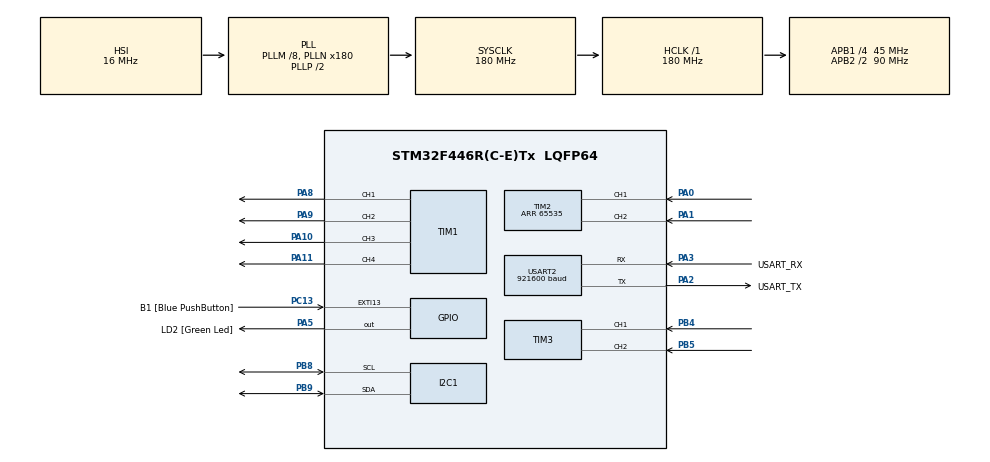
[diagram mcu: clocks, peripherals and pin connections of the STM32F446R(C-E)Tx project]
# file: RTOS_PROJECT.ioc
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Dma.Request0=USART2_RX
Dma.Request1=USART2_TX
Dma.USART2_RX.0.Direction=DMA_PERIPH_TO_MEMORY
Dma.USART2_RX.0.FIFOMode=DMA_FIFOMODE_DISABLE
Dma.USART2_RX.0.Instance=DMA1_Stream5
Dma.USART2_RX.0.MemDataAlignment=DMA_MDATAALIGN_BYTE
Dma.USART2_RX.0.MemInc=DMA_MINC_ENABLE
Dma.USART2_RX.0.Mode=DMA_CIRCULAR
Dma.USART2_RX.0.PeriphDataAlignment=DMA_PDATAALIGN_BYTE
Dma.USART2_RX.0.PeriphInc=DMA_PINC_DISABLE
Dma.USART2_RX.0.Priority=DMA_PRIORITY_VERY_HIGH
Dma.USART2_TX.1.Direction=DMA_MEMORY_TO_PERIPH
Dma.USART2_TX.1.FIFOMode=DMA_FIFOMODE_DISABLE
Dma.USART2_TX.1.Instance=DMA1_Stream6
Dma.USART2_TX.1.MemDataAlignment=DMA_MDATAALIGN_BYTE
Dma.USART2_TX.1.MemInc=DMA_MINC_ENABLE
Dma.USART2_TX.1.Mode=DMA_NORMAL
Dma.USART2_TX.1.PeriphDataAlignment=DMA_PDATAALIGN_BYTE
Dma.USART2_TX.1.PeriphInc=DMA_PINC_DISABLE
Dma.USART2_TX.1.Priority=DMA_PRIORITY_VERY_HIGH
FREERTOS.Tasks01=defaultTask,24,3000,StartDefaultTask,Default,NULL,Dynamic,NULL,NULL
FREERTOS.configTOTAL_HEAP_SIZE=30000
FREERTOS.configUSE_NEWLIB_REENTRANT=1
Mcu.Family=STM32F4
Mcu.Name=STM32F446R(C-E)Tx
Mcu.Package=LQFP64
NVIC.DMA1_Stream5_IRQn=true\:5\:0\:false\:false\:true\:true\:false\:true\:true
NVIC.DMA1_Stream6_IRQn=true\:5\:0\:false\:false\:true\:true\:false\:true\:true
NVIC.PriorityGroup=NVIC_PRIORITYGROUP_4
NVIC.TIM3_IRQn=true\:5\:0\:false\:false\:true\:true\:true\:true\:true
NVIC.TIM4_IRQn=true\:5\:0\:false\:false\:true\:true\:true\:true\:true
NVIC.TIM7_IRQn=true\:15\:0\:false\:false\:true\:false\:false\:true\:true
NVIC.TimeBase=TIM7_IRQn
NVIC.TimeBaseIP=TIM7
NVIC.USART2_IRQn=true\:5\:0\:false\:false\:true\:true\:true\:true\:true
PA0-WKUP.Signal=S_TIM2_CH1_ETR
PA1.Signal=S_TIM2_CH2
PA10.Signal=S_TIM1_CH3
PA11.Signal=S_TIM1_CH4
PA13.GPIO_Label=TMS
PA13.Mode=Serial_Wire
PA13.Signal=SYS_JTMS-SWDIO
PA14.GPIO_Label=TCK
PA14.Mode=Serial_Wire
PA14.Signal=SYS_JTCK-SWCLK
PA2.GPIO_Label=USART_TX
PA2.Mode=Asynchronous
PA2.Signal=USART2_TX
PA3.GPIO_Label=USART_RX
PA3.Mode=Asynchronous
PA3.Signal=USART2_RX
PA5.GPIO_Label=LD2 [Green Led]
PA5.Signal=GPIO_Output
PA8.Signal=S_TIM1_CH1
PA9.Signal=S_TIM1_CH2
PB3.GPIO_Label=SWO
PB3.Signal=SYS_JTDO-SWO
PB4.Signal=S_TIM3_CH1
PB5.Signal=S_TIM3_CH2
PB8.Mode=I2C
PB8.Signal=I2C1_SCL
PB9.Mode=I2C
PB9.Signal=I2C1_SDA
PC13.GPIO_Label=B1 [Blue PushButton]
PC13.GPIO_ModeDefaultEXTI=GPIO_MODE_IT_FALLING
PC13.Signal=GPXTI13
PC14-OSC32_IN.Mode=LSE-External-Oscillator
PC14-OSC32_IN.Signal=RCC_OSC32_IN
PC15-OSC32_OUT.Mode=LSE-External-Oscillator
PC15-OSC32_OUT.Signal=RCC_OSC32_OUT
PH0-OSC_IN.Mode=HSE-External-Oscillator
PH0-OSC_IN.Signal=RCC_OSC_IN
PH1-OSC_OUT.Mode=HSE-External-Oscillator
PH1-OSC_OUT.Signal=RCC_OSC_OUT
ProjectManager.HeapSize=0x200
ProjectManager.StackSize=0x400
ProjectManager.TargetToolchain=Makefile
RCC.48MHZClocksFreq_Value=84000000
RCC.AHBFreq_Value=180000000
RCC.APB1CLKDivider=RCC_HCLK_DIV4
RCC.APB1Freq_Value=45000000
RCC.APB1TimFreq_Value=90000000
RCC.APB2CLKDivider=RCC_HCLK_DIV2
RCC.APB2Freq_Value=90000000
RCC.APB2TimFreq_Value=180000000
RCC.CortexFreq_Value=180000000
RCC.FLatency-AdvancedSettings=FLASH_LATENCY_5
RCC.HCLKFreq_Value=180000000
RCC.HSE_VALUE=8000000
RCC.HSI_VALUE=16000000
RCC.PLLM=8
RCC.PLLN=180
RCC.SYSCLKFreq_VALUE=180000000
RCC.SYSCLKSource=RCC_SYSCLKSOURCE_PLLCLK
RCC.USBFreq_Value=180000000
RCC.VCOOutputFreq_Value=360000000
SH.S_TIM1_CH1.0=TIM1_CH1,PWM Generation1 CH1
SH.S_TIM1_CH2.0=TIM1_CH2,PWM Generation2 CH2
SH.S_TIM1_CH3.0=TIM1_CH3,PWM Generation3 CH3
SH.S_TIM1_CH4.0=TIM1_CH4,PWM Generation4 CH4
SH.S_TIM2_CH1_ETR.0=TIM2_CH1,Encoder_Interface
SH.S_TIM2_CH2.0=TIM2_CH2,Encoder_Interface
SH.S_TIM3_CH1.0=TIM3_CH1,Encoder_Interface
SH.S_TIM3_CH2.0=TIM3_CH2,Encoder_Interface
TIM1.Channel-PWM\ Generation1\ CH1=TIM_CHANNEL_1
TIM1.Channel-PWM\ Generation2\ CH2=TIM_CHANNEL_2
TIM1.Channel-PWM\ Generation3\ CH3=TIM_CHANNEL_3
TIM1.Channel-PWM\ Generation4\ CH4=TIM_CHANNEL_4
TIM2.EncoderMode=TIM_ENCODERMODE_TI12
TIM2.IC1Polarity=TIM_ICPOLARITY_FALLING
TIM2.IC2Polarity=TIM_ICPOLARITY_FALLING
TIM2.Period=65535
TIM3.EncoderMode=TIM_ENCODERMODE_TI12
TIM3.IC1Polarity=TIM_ICPOLARITY_FALLING
TIM3.IC2Polarity=TIM_ICPOLARITY_FALLING
TIM4.Period=99
TIM4.Prescaler=8999
USART2.BaudRate=921600
USART2.OverSampling=UART_OVERSAMPLING_8
USART2.VirtualMode=VM_ASYNC
VP_FREERTOS_VS_CMSIS_V2.Mode=CMSIS_V2
VP_SYS_VS_tim7.Mode=TIM7
VP_TIM1_VS_ClockSourceINT.Mode=Internal
VP_TIM4_VS_ClockSourceINT.Mode=Internal
board=NUCLEO-F446RE

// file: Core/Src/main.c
/* USER CODE BEGIN Header */
/**
  ******************************************************************************
  * @file           : main.c
  * @brief          : Main program body
  ******************************************************************************
  * @attention
  *
  * Copyright (c) 2026 STMicroelectronics.
  * All rights reserved.
  *
  * This software is licensed under terms that can be found in the LICENSE file
  * in the root directory of this software component.
  * If no LICENSE file comes with this software, it is provided AS-IS.
  *
  ******************************************************************************
  */
/* USER CODE END Header */
#include "main.h"
#include "cmsis_os.h"
#include "dma.h"
#include "i2c.h"
#include "tim.h"
#include "usart.h"
#include "gpio.h"

void SystemClock_Config(void);
void MX_FREERTOS_Init(void);

/* USER CODE BEGIN 0 */

void I2C1_Clear_Busy_Flag(void) {
  GPIO_InitTypeDef GPIO_InitStruct = {0};

  // 1. Enable GPIO Clock
  __HAL_RCC_GPIOB_CLK_ENABLE();

  // 2. Configure SCL (PB8) and SDA (PB9) as Output Open-Drain
  GPIO_InitStruct.Pin = GPIO_PIN_8 | GPIO_PIN_9;
  GPIO_InitStruct.Mode = GPIO_MODE_OUTPUT_OD;
  GPIO_InitStruct.Pull = GPIO_NOPULL;
  GPIO_InitStruct.Speed = GPIO_SPEED_FREQ_HIGH;
  HAL_GPIO_Init(GPIOB, &GPIO_InitStruct);

  // 3. Force SDA high
  HAL_GPIO_WritePin(GPIOB, GPIO_PIN_9, GPIO_PIN_SET);

  // 4. Clock SCL 10 times to free the bus
  for (int i = 0; i < 10; i++) {
      HAL_GPIO_WritePin(GPIOB, GPIO_PIN_8, GPIO_PIN_RESET);
      HAL_Delay(1);
      HAL_GPIO_WritePin(GPIOB, GPIO_PIN_8, GPIO_PIN_SET);
      HAL_Delay(1);
  }

  // 5. Generate a STOP condition manually
  HAL_GPIO_WritePin(GPIOB, GPIO_PIN_9, GPIO_PIN_RESET);
  HAL_Delay(1);
  HAL_GPIO_WritePin(GPIOB, GPIO_PIN_9, GPIO_PIN_SET);
  HAL_Delay(1);
}

/* USER CODE END 0 */

int main(void)
{

  /* MCU Configuration--------------------------------------------------------*/

  /* Reset of all peripherals, Initializes the Flash interface and the Systick. */
  HAL_Init();

  /* Configure the system clock */
  SystemClock_Config();

  /* USER CODE BEGIN SysInit */

  I2C1_Clear_Busy_Flag();

  /* USER CODE END SysInit */

  /* Initialize all configured peripherals */
  MX_GPIO_Init();
  MX_DMA_Init();
  MX_USART2_UART_Init();
  MX_I2C1_Init();
  MX_TIM1_Init();
  MX_TIM3_Init();
  MX_TIM2_Init();
  MX_TIM4_Init();

  /* Init scheduler */
  osKernelInitialize();  /* Call init function for freertos objects (in cmsis_os2.c) */
  MX_FREERTOS_Init();

  /* Start scheduler */
  osKernelStart();

  /* We should never get here as control is now taken by the scheduler */

  /* Infinite loop */
  while (1)
  {

  }
}

void SystemClock_Config(void)
{
  RCC_OscInitTypeDef RCC_OscInitStruct = {0};
  RCC_ClkInitTypeDef RCC_ClkInitStruct = {0};

  /** Configure the main internal regulator output voltage
  */
  __HAL_RCC_PWR_CLK_ENABLE();
  __HAL_PWR_VOLTAGESCALING_CONFIG(PWR_REGULATOR_VOLTAGE_SCALE1);

  /** Initializes the RCC Oscillators according to the specified parameters
  * in the RCC_OscInitTypeDef structure.
  */
  RCC_OscInitStruct.OscillatorType = RCC_OSCILLATORTYPE_HSI;
  RCC_OscInitStruct.HSIState = RCC_HSI_ON;
  RCC_OscInitStruct.HSICalibrationValue = RCC_HSICALIBRATION_DEFAULT;
  RCC_OscInitStruct.PLL.PLLState = RCC_PLL_ON;
  RCC_OscInitStruct.PLL.PLLSource = RCC_PLLSOURCE_HSI;
  RCC_OscInitStruct.PLL.PLLM = 8;
  RCC_OscInitStruct.PLL.PLLN = 180;
  RCC_OscInitStruct.PLL.PLLP = RCC_PLLP_DIV2;
  RCC_OscInitStruct.PLL.PLLQ = 2;
  RCC_OscInitStruct.PLL.PLLR = 2;
  if (HAL_RCC_OscConfig(&RCC_OscInitStruct) != HAL_OK)
  {
    Error_Handler();
  }

  /** Activate the Over-Drive mode
  */
  if (HAL_PWREx_EnableOverDrive() != HAL_OK)
  {
    Error_Handler();
  }

  /** Initializes the CPU, AHB and APB buses clocks
  */
  RCC_ClkInitStruct.ClockType = RCC_CLOCKTYPE_HCLK|RCC_CLOCKTYPE_SYSCLK
                              |RCC_CLOCKTYPE_PCLK1|RCC_CLOCKTYPE_PCLK2;
  RCC_ClkInitStruct.SYSCLKSource = RCC_SYSCLKSOURCE_PLLCLK;
  RCC_ClkInitStruct.AHBCLKDivider = RCC_SYSCLK_DIV1;
  RCC_ClkInitStruct.APB1CLKDivider = RCC_HCLK_DIV4;
  RCC_ClkInitStruct.APB2CLKDivider = RCC_HCLK_DIV2;

  if (HAL_RCC_ClockConfig(&RCC_ClkInitStruct, FLASH_LATENCY_5) != HAL_OK)
  {
    Error_Handler();
  }
}

void Error_Handler(void)
{
  __disable_irq();
  while (1)
  {
  }
}

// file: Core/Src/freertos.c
/* USER CODE BEGIN Header */
/**
  ******************************************************************************
  * File Name          : freertos.c
  * Description        : Code for freertos applications
  ******************************************************************************
  * @attention
  *
  * Copyright (c) 2026 STMicroelectronics.
  * All rights reserved.
  *
  * This software is licensed under terms that can be found in the LICENSE file
  * in the root directory of this software component.
  * If no LICENSE file comes with this software, it is provided AS-IS.
  *
  ******************************************************************************
  */
/* USER CODE END Header */

#include "FreeRTOS.h"
#include "task.h"
#include "main.h"
#include "cmsis_os.h"

/* USER CODE BEGIN Includes */
#include "microros_app.h"
/* USER CODE END Includes */

/* Definitions for defaultTask */
osThreadId_t defaultTaskHandle;
const osThreadAttr_t defaultTask_attributes = {
  .name = "defaultTask",
  .stack_size = 3000 * 4,
  .priority = (osPriority_t) osPriorityNormal,
};

void StartDefaultTask(void *argument);

void MX_FREERTOS_Init(void); /* (MISRA C 2004 rule 8.1) */

void MX_FREERTOS_Init(void) {

  /* Create the thread(s) */
  /* creation of defaultTask */
  defaultTaskHandle = osThreadNew(StartDefaultTask, NULL, &defaultTask_attributes);

}

void StartDefaultTask(void *argument)
{
  /* USER CODE BEGIN StartDefaultTask */
  /* Infinite loop */
  run_microros_app();
  /* USER CODE END StartDefaultTask */
}
